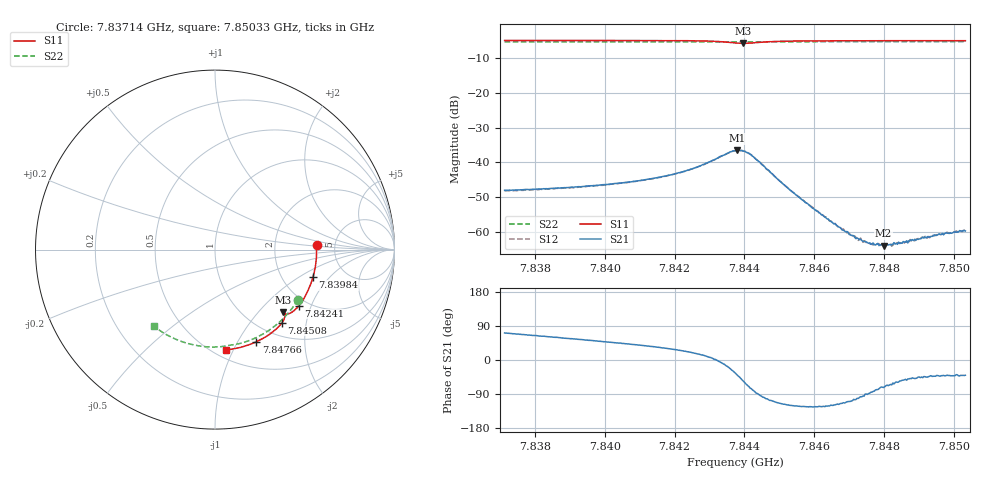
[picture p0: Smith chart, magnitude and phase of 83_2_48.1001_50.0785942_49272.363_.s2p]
#  HZ  S  RI  R  50.00
! Rohde & Schwarz Vector Network Analyzer
! Rohde-Schwarz,ZNB20-2Port,1311601062101988,3.16
! Created: UTC 12/23/2023, 3:42:59 AM
! freq[Hz]  re:S11  im:S11  re:S21  im:S21  re:S12  im:S12  re:S22  im:S22
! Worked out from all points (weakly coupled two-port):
!   401 points, 7.83714 GHz to 7.85033 GHz, reference 50 ohm
!   highest |S21| = -36.49 dB at 7.8438 GHz (marker M1); lowest = -63.9 dB at 7.84799 GHz (marker M2)
!   lowest |S11| = -5.8 dB at 7.84396 GHz (marker M3), VSWR 3.13, Z = 72.5 - j68.8 ohm
!   |S11| at or under -10 dB: nowhere
!   |S22| runs from -5.4 to -5.3 dB; largest |S21 - S12| = 0.00038
!   S11 on the Smith chart (normalised r, x): 7.83714 GHz: 3.59, +0.28; 7.83984 GHz: 2.96, -1.33; 7.84241 GHz: 1.79, -1.64; 7.84508 GHz: 1.25, -1.46; 7.84766 GHz: 0.80, -1.20; 7.85033 GHz: 0.57, -0.93
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7.837136e9  0.5657 0.0264  0.00127 0.00377  0.00131 0.00368  0.4624 -0.2784
7.839345e9  0.5541 -0.1202  0.00265 0.00364  0.00259 0.0036  0.3652 -0.3985
7.83984e9  0.5461 -0.1524  0.00309 0.0036  0.00301 0.00355  0.339 -0.4212
7.840697e9  0.5272 -0.2075  0.00389 0.00353  0.00383 0.00351  0.2903 -0.4567
7.841555e9  0.5019 -0.261  0.00513 0.00339  0.00509 0.00334  0.2379 -0.4862
7.842412e9  0.4677 -0.3124  0.00726 0.00283  0.00725 0.00286  0.1823 -0.5097
7.843237e9  0.4185 -0.3542  0.0115 -0.000373  0.0115 -0.000382  0.1266 -0.5255
7.843731e9  0.3835 -0.3559  0.0122 -0.00817  0.0123 -0.00816  0.0936 -0.531
7.843797e9  0.3808 -0.3537  0.0115 -0.0096  0.0114 -0.00954  0.0892 -0.5315
7.843962e9  0.3794 -0.3488  0.00836 -0.0119  0.00841 -0.0119  0.0788 -0.5333
7.844226e9  0.3864 -0.3513  0.00249 -0.0121  0.00268 -0.0123  0.062 -0.5363
7.845083e9  0.3736 -0.4068  -0.0022 -0.00452  -0.00219 -0.00456  0.00234 -0.5427
7.845941e9  0.331 -0.4516  -0.00123 -0.00185  -0.00125 -0.00191  -0.0581 -0.5406
7.846732e9  0.2862 -0.4837  -0.0005 -0.00106  -0.000556 -0.00104  -0.1132 -0.5323
7.847128e9  0.2629 -0.4973  -0.000211 -0.000857  -0.000233 -0.000855  -0.1402 -0.5261
7.847227e9  0.2572 -0.5005  -0.00016 -0.000806  -0.00013 -0.000767  -0.1471 -0.5244
7.847655e9  0.2311 -0.5133  6.17e-05 -0.00068  4.66e-05 -0.000662  -0.1758 -0.5156
7.847985e9  0.2107 -0.522  0.000191 -0.000608  0.000195 -0.000638  -0.1976 -0.508
7.84815e9  0.2004 -0.5262  0.00027 -0.000603  0.000272 -0.000617  -0.2085 -0.5035
7.848645e9  0.1691 -0.5371  0.000445 -0.0006  0.000436 -0.000568  -0.2402 -0.4896
7.849535e9  0.1116 -0.5516  0.000688 -0.000599  0.000722 -0.000616  -0.2946 -0.4595
7.850327e9  0.0595 -0.5593  0.000791 -0.000669  0.000775 -0.000677  -0.3401 -0.4274
